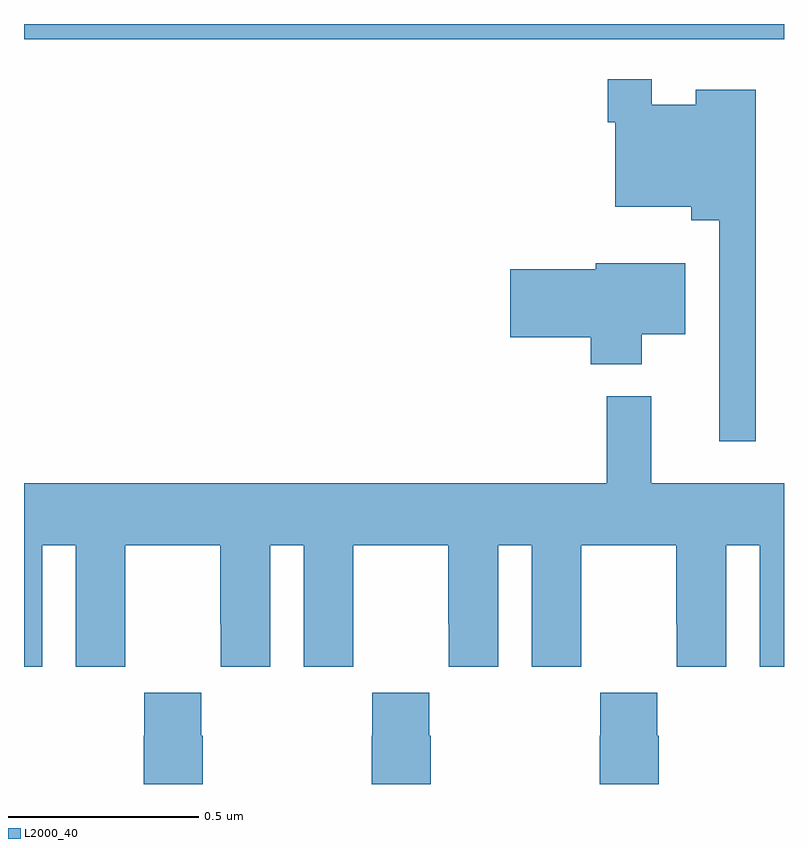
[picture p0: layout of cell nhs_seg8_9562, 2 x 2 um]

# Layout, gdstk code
import gdstk
lib = gdstk.Library(unit=1e-6, precision=1e-09)
def R(c, l, rs):  # rectangles x0, y0, x1, y1
    for r in rs: c.add(gdstk.rectangle(r[:2], r[2:], *l))
def P(c, l, *ps):  # polygons
    for p in ps: c.add(gdstk.Polygon(p, *l))
L2000_40 = (2000, 40)

nhs_seg8_9562 = lib.new_cell('nhs_seg8_9562')
R(nhs_seg8_9562, L2000_40, [(238,1089.86,240,1089.9)])
P(nhs_seg8_9562, L2000_40, [(239.926,1089.727),(239.768,1089.727),(239.768,1089.688),(239.652,1089.688),(239.652,1089.754),(239.536,1089.754),(239.536,1089.641),(239.556,1089.641),(239.556,1089.419),(239.756,1089.419),(239.756,1089.383),(239.829,1089.383),(239.829,1088.802),(239.926,1088.802)],
  [(239.626,1089.083),(239.74,1089.083),(239.74,1089.271),(239.504,1089.271),(239.504,1089.254),(239.28,1089.254),(239.28,1089.076),(239.492,1089.076),(239.492,1089.005),(239.626,1089.005)],
  [(238,1088.208),(238.048,1088.208),(238.048,1088.528),(238.136,1088.528),(238.136,1088.208),(238.266,1088.208),(238.266,1088.32),(238.267,1088.32),(238.267,1088.528),(238.517,1088.528),(238.517,1088.32),(238.518,1088.32),(238.518,1088.208),(238.648,1088.208),(238.648,1088.528),(238.736,1088.528),(238.736,1088.208),(238.866,1088.208),(238.866,1088.32),(238.867,1088.32),(238.867,1088.528),(239.117,1088.528),(239.117,1088.32),(239.118,1088.32),(239.118,1088.208),(239.248,1088.208),(239.248,1088.528),(239.336,1088.528),(239.336,1088.208),(239.466,1088.208),(239.466,1088.32),(239.467,1088.32),(239.467,1088.528),(239.717,1088.528),(239.717,1088.32),(239.718,1088.32),(239.718,1088.208),(239.848,1088.208),(239.848,1088.528),(239.936,1088.528),(239.936,1088.208),(240,1088.208),(240,1088.692),(239.651,1088.692),(239.651,1088.92),(239.533,1088.92),(239.533,1088.692),(238,1088.692)],
  [(238.47,1088.027),(238.467,1088.027),(238.467,1088.14),(238.317,1088.14),(238.317,1088.027),(238.315,1088.027),(238.315,1087.9),(238.47,1087.9)],
  [(239.07,1088.027),(239.067,1088.027),(239.067,1088.14),(238.917,1088.14),(238.917,1088.027),(238.915,1088.027),(238.915,1087.9),(239.07,1087.9)],
  [(239.67,1088.027),(239.667,1088.027),(239.667,1088.14),(239.517,1088.14),(239.517,1088.027),(239.515,1088.027),(239.515,1087.9),(239.67,1087.9)])

lib.write_gds('nhs_seg8_9562.gds')
